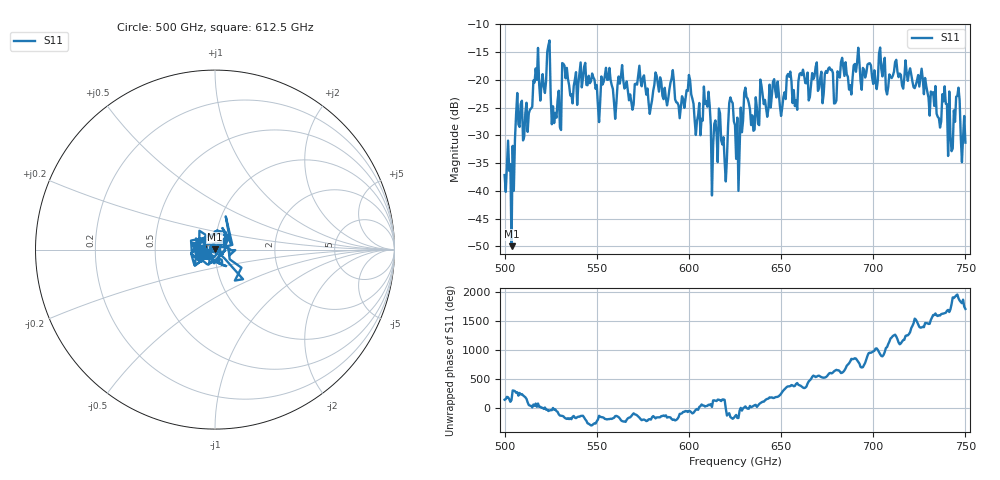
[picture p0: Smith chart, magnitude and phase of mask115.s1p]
!Created with skrf (http://scikit-rf.org).
# GHz S MA R 50.0
!freq magS11 angS11
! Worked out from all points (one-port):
!   401 points, 500 GHz to 750 GHz, reference 50 ohm
!   lowest |S11| = -50.0 dB at 503.8 GHz (marker M1), VSWR 1.01, Z = 49.8 + j0.23 ohm
!   |S11| at or under -10 dB: start of sweep to end of sweep
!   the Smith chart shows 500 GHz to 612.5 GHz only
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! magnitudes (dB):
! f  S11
! 500 GHz  -37.1
! 503.8 GHz  -50.0
! 507.5 GHz  -28.0
! 511.2 GHz  -25.9
! 516.9 GHz  -17.9
! 523.8 GHz  -13.8
! 526.9 GHz  -27.8
! 531.2 GHz  -17.0
! 562.5 GHz  -20.7
! 590.6 GHz  -19.7
! 593.8 GHz  -24.1
! 609.4 GHz  -23.8
! 612.5 GHz  -40.8
! 617.5 GHz  -30.9
! 619.4 GHz  -34.7
! 622.5 GHz  -23.1
! 625 GHz  -28.1
! 626.2 GHz  -26.8
! 631.2 GHz  -23.1
! 634.4 GHz  -26.4
! 656.2 GHz  -24.2
! 687.5 GHz  -20.9
! 718.8 GHz  -20.2
! 735.6 GHz  -26.9
! 738.8 GHz  -21.1
! 741.9 GHz  -30.1
! 745.6 GHz  -22.9
! 750 GHz  -31.3
